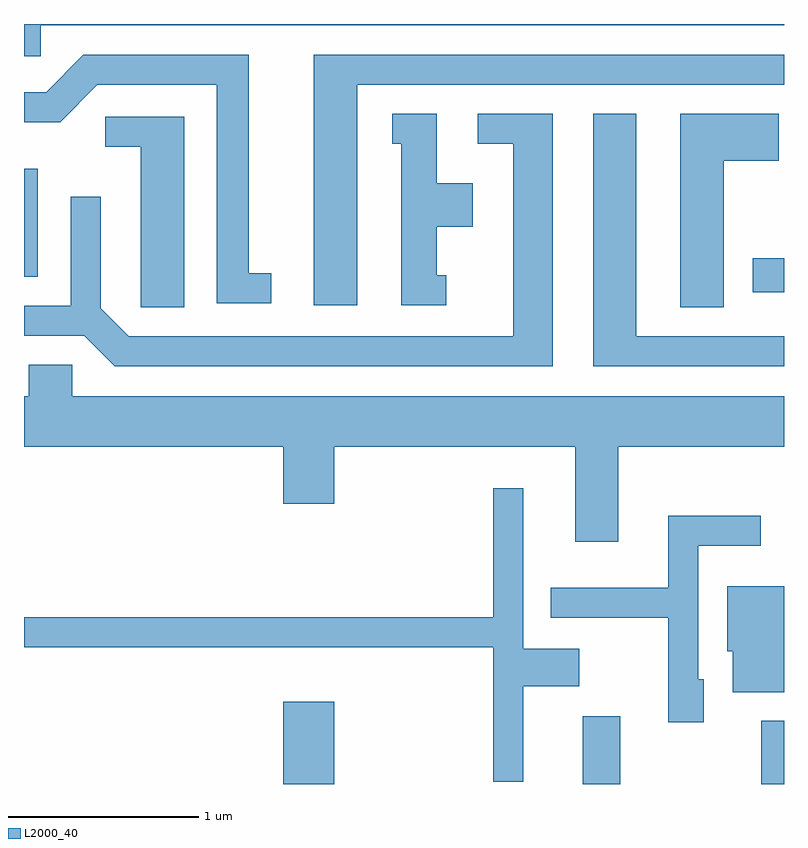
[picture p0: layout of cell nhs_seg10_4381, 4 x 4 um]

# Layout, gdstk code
import gdstk
lib = gdstk.Library(unit=1e-6, precision=1e-09)
def R(c, l, rs):  # rectangles x0, y0, x1, y1
    for r in rs: c.add(gdstk.rectangle(r[:2], r[2:], *l))
def P(c, l, *ps):  # polygons
    for p in ps: c.add(gdstk.Polygon(p, *l))
L2000_40 = (2000, 40)

nhs_seg10_4381 = lib.new_cell('nhs_seg10_4381')
R(nhs_seg10_4381, L2000_40, [(314.976,2176.522,315.244,2176.954), (316.551,2176.522,316.749,2176.879), (317.491,2176.522,317.611,2176.854), (317.446,2179.111,317.611,2179.289), (313.611,2179.191,313.684,2179.759)])
P(nhs_seg10_4381, L2000_40, [(313.699,2180.516),(317.611,2180.516),(317.611,2180.522),(313.611,2180.522),(313.611,2180.351),(313.699,2180.351)],
  [(315.364,2180.201),(317.611,2180.201),(317.611,2180.359),(315.136,2180.359),(315.136,2179.041),(315.364,2179.041)],
  [(314.913,2179.209),(314.794,2179.209),(314.794,2180.359),(313.924,2180.359),(313.729,2180.164),(313.611,2180.164),(313.611,2180.006),(313.802,2180.006),(313.997,2180.201),(314.626,2180.201),(314.626,2179.051),(314.913,2179.051)],
  [(317.611,2178.879),(316.834,2178.879),(316.834,2180.049),(316.606,2180.049),(316.606,2178.721),(317.611,2178.721)],
  [(316.394,2180.049),(315.998,2180.049),(315.998,2179.891),(316.186,2179.891),(316.186,2178.879),(314.162,2178.879),(314.014,2179.027),(314.014,2179.613),(313.856,2179.613),(313.856,2179.039),(313.611,2179.039),(313.611,2178.881),(313.929,2178.881),(314.089,2178.721),(316.394,2178.721)],
  [(317.294,2179.801),(317.584,2179.801),(317.584,2180.049),(317.066,2180.049),(317.066,2179.031),(317.294,2179.031)],
  [(315.833,2179.199),(315.784,2179.199),(315.784,2179.456),(315.974,2179.456),(315.974,2179.684),(315.784,2179.684),(315.784,2180.049),(315.548,2180.049),(315.548,2179.891),(315.596,2179.891),(315.596,2179.041),(315.833,2179.041)],
  [(314.454,2180.034),(314.038,2180.034),(314.038,2179.876),(314.226,2179.876),(314.226,2179.031),(314.454,2179.031)],
  [(316.739,2178.296),(317.611,2178.296),(317.611,2178.564),(313.864,2178.564),(313.864,2178.729),(313.636,2178.729),(313.636,2178.564),(313.611,2178.564),(313.611,2178.296),(314.976,2178.296),(314.976,2177.996),(315.244,2177.996),(315.244,2178.296),(316.511,2178.296),(316.511,2177.796),(316.739,2177.796)],
  [(316.239,2177.036),(316.534,2177.036),(316.534,2177.234),(316.239,2177.234),(316.239,2178.078),(316.081,2178.078),(316.081,2177.399),(313.611,2177.399),(313.611,2177.241),(316.081,2177.241),(316.081,2176.533),(316.239,2176.533)],
  [(317.189,2177.074),(317.159,2177.074),(317.159,2177.776),(317.488,2177.776),(317.488,2177.934),(317.001,2177.934),(317.001,2177.554),(316.383,2177.554),(316.383,2177.396),(317.001,2177.396),(317.001,2176.846),(317.189,2176.846)],
  [(317.611,2177.564),(317.311,2177.564),(317.311,2177.221),(317.341,2177.221),(317.341,2177.006),(317.611,2177.006)])

lib.write_gds('nhs_seg10_4381.gds')
